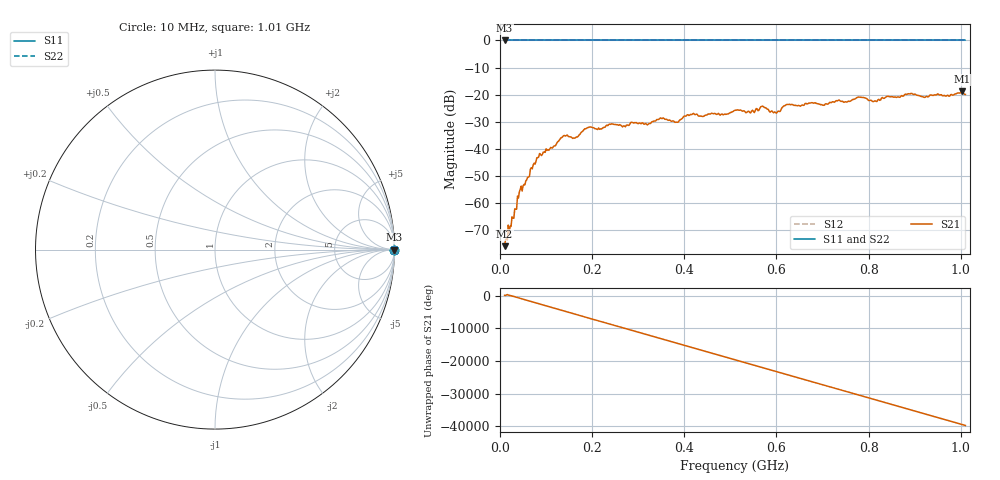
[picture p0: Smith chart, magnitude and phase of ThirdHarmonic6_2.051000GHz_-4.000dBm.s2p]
! 8/17/2025 12:35:08 AM
! C:\ANRITSUVNA\TEMP\TEMP.S2P
! CHANNEL.1
! TR.MEASUREMENT
! RAW.DATA
! RF.CORRECTION.OFF
! AVERAGING.OFF
! IF.BANDWIDTH: 5KHZ
! SWEEPTYPE:  FREQ.SWEEP(Linear)
! Reference Plane Port Info
! PORT:  PORT1  PORT2
! DISTANCE:  0  m  0  m
! TIME:  0  s  0  s
! PHASE.OFFSET:  0  deg.  0  deg.
! LOSS:  0  dB  0  dB
! REF.LOSS:  0  dB  0  dB
! REF.FREQ:  0  Hz  0  Hz
! Power Info
! POWER:  -20  dBm  -20  dBm
! EFF.POWER:  -20  dBm  -20  dBm
! SOURCE.ATTEN:  0  dB  0  dB
! TEST.ATTEN:  0  dB  0  dB
# GHZ S RI R 50.0
! FREQ.GHZ  S11RE  S11IM  S21RE  S21IM  S12RE  S12IM  S22RE  S22IM
!; PortSelection: Port_12
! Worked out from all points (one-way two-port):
!   501 points, 10 MHz to 1.01 GHz, reference 50 ohm
!   highest |S21| = -18.76 dB at 1.002 GHz (marker M1); lowest = -76.0 dB at 10 MHz (marker M2)
!   lowest |S11| = 0.0 dB at 10 MHz (marker M3)
!   |S11| at or under -10 dB: nowhere
!   |S22| runs from 0.0 to 0.0 dB; largest |S21 - S12| = 1.1
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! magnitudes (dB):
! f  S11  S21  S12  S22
! 10 MHz  0.0  -76.0  0.0  0.0
! 32 MHz  0.0  -62.2  0.0  0.0
! 42 MHz  0.0  -55.9  0.0  0.0
! 84 MHz  0.0  -43.0  0.0  0.0
! 136 MHz  0.0  -35.6  0.0  0.0
! 162 MHz  0.0  -36.1  0.0  0.0
! 178 MHz  0.0  -33.7  0.0  0.0
! 344 MHz  0.0  -29.2  0.0  0.0
! 384 MHz  0.0  -30.2  0.0  0.0
! 416 MHz  0.0  -27.4  0.0  0.0
! 510 MHz  0.0  -25.8  0.0  0.0
! 548 MHz  0.0  -25.8  0.0  0.0
! 570 MHz  0.0  -24.3  0.0  0.0
! 598 MHz  0.0  -26.6  0.0  0.0
! 624 MHz  0.0  -23.6  0.0  0.0
! 678 MHz  0.0  -23.0  0.0  0.0
! 700 MHz  0.0  -23.9  0.0  0.0
! 780 MHz  0.0  -20.9  0.0  0.0
! 814 MHz  0.0  -22.3  0.0  0.0
! 844 MHz  0.0  -20.7  0.0  0.0
! 1.002 GHz  0.0  -18.8  0.0  0.0
! 1.01 GHz  0.0  -19.9  0.0  0.0
